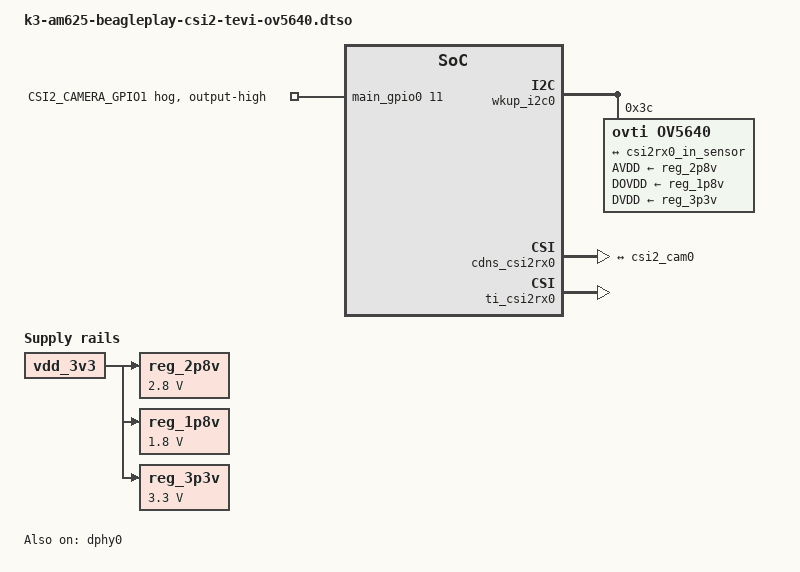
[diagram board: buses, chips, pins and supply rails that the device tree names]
// SPDX-License-Identifier: GPL-2.0-only OR MIT
/*
 * Technexion TEVI-OV5640-*-RPI - OV5640 camera module
 * Copyright (C) 2022-2024 Texas Instruments Incorporated - https://www.ti.com/
 */

/dts-v1/;
/plugin/;

#include <dt-bindings/gpio/gpio.h>

&{/} {
	clk_ov5640_fixed: ov5640-xclk {
		compatible = "fixed-clock";
		#clock-cells = <0>;
		clock-frequency = <24000000>;
	};

	reg_2p8v: regulator-2p8v {
		compatible = "regulator-fixed";
		regulator-name = "2P8V";
		regulator-min-microvolt = <2800000>;
		regulator-max-microvolt = <2800000>;
		vin-supply = <&vdd_3v3>;
		regulator-always-on;
	};

	reg_1p8v: regulator-1p8v {
		compatible = "regulator-fixed";
		regulator-name = "1P8V";
		regulator-min-microvolt = <1800000>;
		regulator-max-microvolt = <1800000>;
		vin-supply = <&vdd_3v3>;
		regulator-always-on;
	};

	reg_3p3v: regulator-3p3v {
		compatible = "regulator-fixed";
		regulator-name = "3P3V";
		regulator-min-microvolt = <3300000>;
		regulator-max-microvolt = <3300000>;
		vin-supply = <&vdd_3v3>;
		regulator-always-on;
	};
};

&main_gpio0 {
	p11-hog {
		/* P11 - CSI2_CAMERA_GPIO1 */
		gpio-hog;
		gpios = <11 GPIO_ACTIVE_HIGH>;
		output-high;
		line-name = "CSI2_CAMERA_GPIO1";
	};
};

&wkup_i2c0 {
	#address-cells = <1>;
	#size-cells = <0>;
	status = "okay";

	ov5640: camera@3c {
		compatible = "ovti,ov5640";
		reg = <0x3c>;

		clocks = <&clk_ov5640_fixed>;
		clock-names = "xclk";

		AVDD-supply = <&reg_2p8v>;
		DOVDD-supply = <&reg_1p8v>;
		DVDD-supply = <&reg_3p3v>;

		port {
			csi2_cam0: endpoint {
				remote-endpoint = <&csi2rx0_in_sensor>;
				clock-lanes = <0>;
				data-lanes = <1 2>;
			};
		};
	};
};

&cdns_csi2rx0 {
	ports {
		#address-cells = <1>;
		#size-cells = <0>;

		csi0_port0: port@0 {
			reg = <0>;
			status = "okay";

			csi2rx0_in_sensor: endpoint {
				remote-endpoint = <&csi2_cam0>;
				bus-type = <4>; /* CSI2 DPHY. */
				clock-lanes = <0>;
				data-lanes = <1 2>;
			};
		};
	};
};

&dphy0 {
	status = "okay";
};

&ti_csi2rx0 {
	status = "okay";
};
